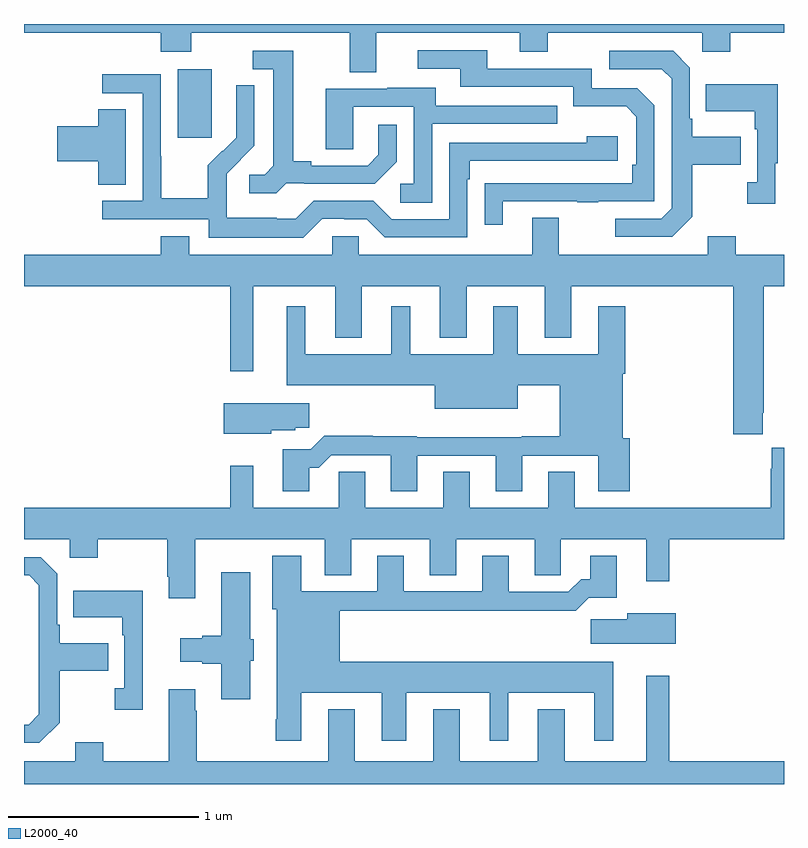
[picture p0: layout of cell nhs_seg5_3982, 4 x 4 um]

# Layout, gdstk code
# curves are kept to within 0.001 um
import gdstk
lib = gdstk.Library(unit=1e-6, precision=1e-09)
def R(c, l, rs):  # rectangles x0, y0, x1, y1
    for r in rs: c.add(gdstk.rectangle(r[:2], r[2:], *l))
def P(c, l, *ps):  # polygons
    for p in ps: c.add(gdstk.Polygon(p, *l))
L2000_40 = (2000, 40)

nhs_seg5_3982 = lib.new_cell('nhs_seg5_3982')
R(nhs_seg5_3982, L2000_40, [(345.809,864.201,345.988,864.562)])
P(nhs_seg5_3982, L2000_40, [(346.855,864.752),(347.609,864.752),(347.609,864.653),(347.757,864.653),(347.757,864.752),(348.57,864.752),(348.57,864.653),(348.717,864.653),(348.717,864.752),(349,864.752),(349,864.799),(345,864.799),(345,864.752),(345.719,864.752),(345.719,864.653),(345.879,864.653),(345.879,864.752),(346.715,864.752),(346.715,864.544),(346.855,864.544)],
  [(347.521,863.865),(347.911,863.865),(347.911,863.86),(348.023,863.86),(348.023,863.865),(348.318,863.865),(348.318,864.372),(348.228,864.462),(347.988,864.462),(347.988,864.564),(347.437,864.564),(347.437,864.66),(347.073,864.66),(347.073,864.564),(347.297,864.564),(347.297,864.468),(347.892,864.468),(347.892,864.365),(348.169,864.365),(348.222,864.312),(348.222,864.058),(348.202,864.058),(348.202,863.961),(347.425,863.96),(347.425,863.742),(347.521,863.742)],
  [(348.517,863.785),(348.517,864.058),(348.773,864.058),(348.773,864.205),(348.517,864.205),(348.517,864.301),(348.504,864.301),(348.504,864.57),(348.417,864.657),(348.081,864.657),(348.081,864.561),(348.357,864.561),(348.408,864.51),(348.408,863.829),(348.354,863.775),(348.111,863.775),(348.111,863.679),(348.411,863.679)],
  [(346.38,863.961),(346.474,863.961),(346.474,863.958),(346.846,863.958),(346.962,864.074),(346.962,864.268),(346.865,864.268),(346.865,864.111),(346.808,864.054),(346.513,864.054),(346.513,864.077),(346.417,864.077),(346.417,864.657),(346.203,864.657),(346.203,864.561),(346.313,864.561),(346.313,864.053),(346.266,864.006),(346.185,864.006),(346.185,863.909),(346.328,863.909)],
  [(346.569,863.775),(346.685,863.775),(346.685,863.772),(346.803,863.772),(346.899,863.676),(347.334,863.676),(347.334,863.981),(347.347,863.981),(347.347,864.078),(348.124,864.078),(348.124,864.208),(347.963,864.208),(347.963,864.174),(347.238,864.174),(347.238,863.772),(346.935,863.772),(346.839,863.868),(346.524,863.868),(346.431,863.775),(346.331,863.775),(346.331,863.779),(346.068,863.779),(346.068,863.913),(346.066,863.913),(346.066,864.01),(346.212,864.158),(346.212,864.476),(346.116,864.476),(346.116,864.322),(346.118,864.322),(346.118,864.2),(346.047,864.129),(346.044,864.132),(345.967,864.055),(345.967,863.881),(345.723,863.881),(345.723,864.104),(345.72,864.104),(345.72,864.534),(345.411,864.534),(345.411,864.435),(345.624,864.435),(345.624,863.868),(345.411,863.868),(345.411,863.772),(345.972,863.772),(345.972,863.675),(346.469,863.675)],
  [(348.955,864.065),(348.967,864.065),(348.967,864.481),(348.589,864.481),(348.589,864.341),(348.846,864.341),(348.846,864.245),(348.858,864.245),(348.858,863.966),(348.807,863.966),(348.807,863.853),(348.955,863.853)],
  [(347.148,864.273),(347.807,864.273),(347.807,864.369),(347.167,864.369),(347.167,864.463),(346.913,864.463),(346.913,864.459),(346.589,864.459),(346.589,864.139),(346.734,864.139),(346.734,864.363),(347.052,864.363),(347.052,863.958),(346.98,863.958),(346.98,863.857),(347.148,863.857)],
  [(345.535,864.35),(345.392,864.35),(345.392,864.26),(345.174,864.26),(345.174,864.077),(345.392,864.077),(345.392,863.953),(345.535,863.953)],
  [(348.889,862.753),(348.894,862.753),(348.894,863.42),(349,863.42),(349,863.584),(348.747,863.584),(348.747,863.683),(348.599,863.683),(348.599,863.584),(347.815,863.584),(347.815,863.779),(347.675,863.779),(347.675,863.584),(346.761,863.584),(346.761,863.682),(346.623,863.682),(346.623,863.584),(345.871,863.584),(345.871,863.683),(345.719,863.683),(345.719,863.584),(345,863.584),(345,863.42),(346.086,863.42),(346.086,862.971),(346.207,862.971),(346.207,863.42),(346.637,863.42),(346.637,863.147),(346.777,863.147),(346.777,863.42),(347.189,863.42),(347.189,863.147),(347.329,863.147),(347.329,863.42),(347.741,863.42),(347.741,863.147),(347.881,863.147),(347.881,863.42),(348.734,863.42),(348.734,862.641),(348.889,862.641)],
  [(346.501,862.463),(346.55,862.463),(346.617,862.53),(346.931,862.53),(346.931,862.341),(347.071,862.341),(347.071,862.527),(347.483,862.527),(347.483,862.341),(347.623,862.341),(347.623,862.527),(348.023,862.527),(348.023,862.341),(348.188,862.341),(348.188,862.62),(348.151,862.62),(348.151,862.958),(348.164,862.958),(348.164,863.314),(348.023,863.314),(348.023,863.062),(347.599,863.062),(347.599,863.314),(347.471,863.314),(347.471,863.062),(347.032,863.062),(347.032,863.314),(346.934,863.314),(346.934,863.062),(346.48,863.062),(346.48,863.314),(346.382,863.314),(346.382,862.898),(347.162,862.898),(347.162,862.775),(347.599,862.775),(347.599,862.898),(347.819,862.898),(347.819,862.628),(347.619,862.628),(347.619,862.624),(347.067,862.624),(347.067,862.628),(346.835,862.628),(346.835,862.631),(346.58,862.631),(346.509,862.56),(346.361,862.56),(346.361,862.341),(346.501,862.341)],
  [(346.302,862.661),(346.428,862.661),(346.428,862.675),(346.501,862.675),(346.501,862.804),(346.052,862.804),(346.052,862.643),(346.302,862.643)],
  [(345.901,862.088),(346.583,862.088),(346.583,861.898),(346.723,861.898),(346.723,862.088),(347.135,862.088),(347.135,861.898),(347.275,861.898),(347.275,862.088),(347.687,862.088),(347.687,861.898),(347.826,861.898),(347.826,862.088),(348.275,862.088),(348.275,861.867),(348.397,861.867),(348.397,862.088),(349,862.088),(349,862.57),(348.935,862.57),(348.935,862.457),(348.929,862.457),(348.929,862.252),(347.899,862.252),(347.899,862.442),(347.759,862.442),(347.759,862.252),(347.347,862.252),(347.347,862.442),(347.207,862.442),(347.207,862.252),(346.795,862.252),(346.795,862.442),(346.656,862.442),(346.656,862.252),(346.207,862.252),(346.207,862.474),(346.086,862.474),(346.086,862.252),(345,862.252),(345,862.088),(345.24,862.088),(345.24,861.989),(345.387,861.989),(345.387,862.088),(345.754,862.088),(345.754,861.889),(345.761,861.889),(345.761,861.777),(345.901,861.777)],
  [(346.459,861.278),(346.883,861.278),(346.883,861.027),(347.011,861.027),(347.011,861.278),(347.45,861.278),(347.45,861.027),(347.548,861.027),(347.548,861.278),(348.002,861.278),(348.002,861.027),(348.1,861.027),(348.1,861.442),(346.663,861.442),(346.663,861.712),(347.647,861.712),(347.647,861.71),(347.903,861.71),(347.972,861.779),(348.121,861.779),(348.121,862),(347.981,862),(347.981,861.877),(347.932,861.877),(347.865,861.81),(347.551,861.81),(347.551,862),(347.411,862),(347.411,861.813),(346.999,861.813),(346.999,862),(346.859,862),(346.859,861.813),(346.459,861.813),(346.459,862),(346.307,862),(346.307,861.72),(346.331,861.72),(346.331,861.139),(346.324,861.139),(346.324,861.027),(346.459,861.027)],
  [(345.187,861.121),(345.187,861.394),(345.443,861.394),(345.443,861.541),(345.187,861.541),(345.187,861.637),(345.174,861.637),(345.174,861.906),(345.087,861.993),(345,861.993),(345,861.897),(345.027,861.897),(345.078,861.846),(345.078,861.165),(345.024,861.111),(345,861.111),(345,861.015),(345.081,861.015)],
  [(346.192,861.447),(346.21,861.447),(346.21,861.561),(346.192,861.561),(346.192,861.913),(346.037,861.913),(346.037,861.578),(345.938,861.578),(345.938,861.565),(345.822,861.565),(345.822,861.443),(345.938,861.443),(345.938,861.431),(346.037,861.431),(346.037,861.246),(346.192,861.246)],
  [(345.626,861.817),(345.259,861.817),(345.259,861.677),(345.516,861.677),(345.516,861.581),(345.528,861.581),(345.528,861.302),(345.477,861.302),(345.477,861.189),(345.626,861.189)],
  [(348.43,861.697),(348.176,861.697),(348.176,861.665),(347.982,861.665),(347.982,861.536),(348.43,861.536)],
  [(349,860.92),(348.397,860.92),(348.397,861.37),(348.275,861.37),(348.275,860.92),(347.845,860.92),(347.845,861.193),(347.705,861.193),(347.705,860.92),(347.293,860.92),(347.293,861.193),(347.153,861.193),(347.153,860.92),(346.741,860.92),(346.741,861.193),(346.601,861.193),(346.601,860.92),(345.909,860.92),(345.909,861.185),(345.901,861.185),(345.901,861.298),(345.761,861.298),(345.761,860.92),(345.417,860.92),(345.417,861.019),(345.269,861.019),(345.269,860.92),(345,860.92),(345,860.799),(349,860.799)])

lib.write_gds('nhs_seg5_3982.gds')
